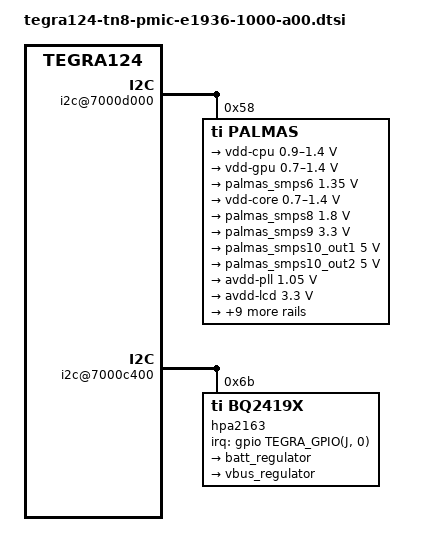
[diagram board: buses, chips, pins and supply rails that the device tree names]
#include <dt-bindings/gpio/tegra-gpio.h>

/ {
	i2c@7000d000 {
		palmas: tps65913 {
			compatible = "ti,palmas";
			reg = <0x58>;
			interrupts = <0 86 0>;

			#interrupt-cells = <2>;
			interrupt-controller;

			palmas_gpio: gpio {
				compatible = "ti,palmas-gpio";
				gpio-controller;
				#gpio-cells = <2>;
			};

			rtc {
				compatible = "ti,palmas-rtc";
				interrupt-parent = <&palmas>;
				interrupts = <8 0>;
			};

			pinmux {
				compatible = "ti,tps65913-pinctrl";
				pinctrl-names = "default";
				pinctrl-0 = <&palmas_default>;

				palmas_default: pinmux {
					powergood {
						pins = "powergood";
						function = "powergood";
					};

					vac {
						pins = "vac";
						function = "vac";
					};

					pin_gpio0 {
						pins = "gpio0";
						function = "id";
						bias-pull-up;
					};

					pin_gpio1 {
						pins = "gpio1";
						function = "gpio";
						bias-pull-down;
					};

					pin_gpio6 {
						pins = "gpio2", "gpio3", "gpio4", "gpio6", "gpio7";
						function = "gpio";
					};

					pin_gpio5 {
						pins = "gpio5";
						function = "clk32kgaudio";
					};
				};
			};

			extcon {
				compatible = "ti,palmas-usb";
				extcon-name = "palmas-extcon";
				ti,wakeup;
				ti,enable-id-detection;
				ti,enable-vbus-detection;
			};

			power_pm {
				compatible = "ti,palmas-pm";
				system-pmic-power-off;
				system-pmic-power-reset;
			};

			gpadc {
				compatible = "ti,palmas-gpadc";
				interrupt-parent = <&palmas>;
				interrupts = <18 0
					      16 0
					      17 0>;
				ti,channel3-current-microamp = <400>;
				ti,enable-channel3-dual-current;
				ti,enable-extended-delay;
				iio_map {
					ch1 {
						ti,adc-channel-number = <1>;
						ti,adc-consumer-device = "generic-adc-thermal.1";
						ti,adc-consumer-channel ="thermistor";
					};

					ch3 {
						ti,adc-channel-number = <3>;
						ti,adc-consumer-device = "generic-adc-thermal.2";
						ti,adc-consumer-channel ="tdiode";
					};

					ch5 {
						ti,adc-channel-number = <5>;
						ti,adc-consumer-device = "generic-adc-thermal.0";
						ti,adc-consumer-channel ="battery-temp-channel";
					};

				};
			};

                        clock {
                                compatible = "ti,palmas-clk";

                                clk32k_kg {
                                        ti,clock-boot-enable;
                                };

                                clk32k_kg_audio {
                                        ti,clock-boot-enable;
                                };
                        };

			pmic {
				compatible = "ti,tps65913-pmic", "ti,palmas-pmic";
				ldo1-in-supply = <&palmas_smps6>;
				ldo5-in-supply = <&palmas_smps8>;
				ldo9-in-supply = <&palmas_smps9>;
				ldoln-in-supply = <&palmas_smps10_out2>;
				ldousb-in-supply = <&palmas_smps10_out2>;

				regulators {
					smps123 {
						regulator-name = "vdd-cpu";
						regulator-min-microvolt = <900000>;
						regulator-max-microvolt = <1400000>;
						regulator-always-on;
						regulator-boot-on;
						ti,roof-floor = <1>;
						ti,config-flags = <8>;

						consumers {
							c1 {
								regulator-consumer-supply = "vdd_cpu";
							};
						};
					};

					smps45 {
						regulator-name = "vdd-gpu";
						regulator-min-microvolt = <700000>;
						regulator-max-microvolt = <1400000>;
						regulator-init-microvolt = <1000000>;
						regulator-boot-on;

						consumers {
							c1 {
								regulator-consumer-supply = "vdd_gpu";
							};
						};
					};

					palmas_smps6: smps6 {
						regulator-name = "vddio-ddr";
						regulator-min-microvolt = <1350000>;
						regulator-max-microvolt = <1350000>;
						regulator-always-on;
						regulator-boot-on;

						consumers {
							c1 {
								regulator-consumer-supply = "vddio_ddr";
							};
							c2 {
								regulator-consumer-supply = "vddio_ddr_mclk";
							};
							c3 {
								regulator-consumer-supply = "vddio_ddr3";
							};
							c4 {
								regulator-consumer-supply = "vcore1_ddr3";
							};
						};
					};

					smps7 {
						regulator-name = "vdd-core";
						regulator-min-microvolt = <700000>;
						regulator-max-microvolt = <1400000>;
						regulator-always-on;
						regulator-boot-on;
						ti,roof-floor = <3>;
						consumers {
							c1 {
								regulator-consumer-supply = "vdd_core";
							};
						};
					};

					palmas_smps8: smps8 {
						regulator-name = "vdd-1v8";
						regulator-min-microvolt = <1800000>;
						regulator-max-microvolt = <1800000>;
						regulator-always-on;
						regulator-boot-on;

						consumers {
							c1 {
								regulator-consumer-supply = "dbvdd";
								regulator-consumer-device = "tegra-snd-rt5639.0";
							};
							c2 {
								regulator-consumer-supply = "avdd";
								regulator-consumer-device = "tegra-snd-rt5639.0";
							};
							c3 {
								regulator-consumer-supply = "avdd_osc";
							};
							c4 {
								regulator-consumer-supply = "vddio_sys";
							};
							c5 {
								regulator-consumer-supply = "vddio_sys_2";
							};
							c6 {
								regulator-consumer-supply = "vddio_gmi";
							};
							c7 {
								regulator-consumer-supply = "vddio_sdmmc";
								regulator-consumer-device = "sdhci-tegra.0";
							};
							c8 {
								regulator-consumer-supply = "vddio_sdmmc";
								regulator-consumer-device = "sdhci-tegra.3";
							};
							c9 {
								regulator-consumer-supply = "avdd_pll_utmip";
								regulator-consumer-device = "tegra-udc.0";
							};
							c10 {
								regulator-consumer-supply = "avdd_pll_utmip";
								regulator-consumer-device = "tegra-ehci.0";
							};
							c11 {
								regulator-consumer-supply = "avdd_pll_utmip";
								regulator-consumer-device = "tegra-ehci.1";
							};
							c12 {
								regulator-consumer-supply = "avdd_pll_utmip";
								regulator-consumer-device = "tegra-ehci.2";
							};
							c13 {
								regulator-consumer-supply = "avdd_pll_utmip";
								regulator-consumer-device = "tegra-xhci";
							};
							c14 {
								regulator-consumer-supply = "vddio_audio";
							};
							c15 {
								regulator-consumer-supply = "vddio_uart";
							};
							c16 {
								regulator-consumer-supply = "vddio_bb";
							};
							c17 {
								regulator-consumer-supply = "vdd_1v8_eeprom";
							};
							c18 {
								regulator-consumer-supply = "vlogic";
								regulator-consumer-device = "0-0069";
							};
							c19 {
								regulator-consumer-supply = "vdd";
								regulator-consumer-device = "0-0069";
							};
							c20 {
								regulator-consumer-supply = "dvdd";
								regulator-consumer-device = "spi0.0";
							};
							c21 {
								regulator-consumer-supply = "dmicvdd";
								regulator-consumer-device = "tegra-snd-rt5639.0";
							};
							c22 {
								regulator-consumer-supply = "dmicvdd";
								regulator-consumer-device = "tegra-snd-rt5645.0";
							};
							c23 {
								regulator-consumer-supply = "vid";
								regulator-consumer-device = "0-000d";
							};
							c24 {
								regulator-consumer-supply = "pwrdet_nand";
							};
							c25 {
								regulator-consumer-supply = "pwrdet_sdmmc1";
							};
							c26 {
								regulator-consumer-supply = "pwrdet_sdmmc4";
							};
							c27 {
								regulator-consumer-supply = "pwrdet_audio";
							};
							c28 {
								regulator-consumer-supply = "pwrdet_uart";
							};
							c29 {
								regulator-consumer-supply = "pwrdet_bb";
							};
						};
					};

					palmas_smps9: smps9 {
						regulator-name = "vdd-snsr";
						regulator-min-microvolt = <3300000>;
						regulator-max-microvolt = <3300000>;
						regulator-always-on;
						regulator-boot-on;

						consumers {
							c1 {
								regulator-consumer-supply = "vddio_sd_slot";
								regulator-consumer-device = "sdhci-tegra.3";
							};
							c2 {
								regulator-consumer-supply = "vdd";
								regulator-consumer-device = "0-000d";
							};
						};
					};

					palmas_smps10_out1: smps10_out1 {
						regulator-name = "vdd-out1-5v0";
						regulator-min-microvolt = <5000000>;
						regulator-max-microvolt = <5000000>;

					};

					palmas_smps10_out2: smps10_out2 {
						regulator-name = "vdd-out2-5v0";
						regulator-min-microvolt = <5000000>;
						regulator-max-microvolt = <5000000>;

						consumers {
							c1 {
								regulator-consumer-supply = "spkvdd";
								regulator-consumer-device = "tegra-snd-rt5639.0";
							};
							c2 {
								regulator-consumer-supply = "spkvdd";
								regulator-consumer-device = "tegra-snd-rt5645.0";
							};
						};
					};

					ldo1 {
						regulator-name = "avdd-pll";
						regulator-min-microvolt = <1050000>;
						regulator-max-microvolt = <1050000>;
						regulator-always-on;
						regulator-boot-on;
						ti,roof-floor = <3>;

						consumers {
							c1 {
								regulator-consumer-supply = "avdd_pll_m";
							};
							c2 {
								regulator-consumer-supply = "avdd_pll_ap_c2_c3";
							};
							c3 {
								regulator-consumer-supply = "avdd_pll_cud2dpd";
							};
							c4 {
								regulator-consumer-supply = "avdd_pll_c4";
							};
							c5 {
								regulator-consumer-supply = "vddio_ddr_hs";
							};
							c6 {
								regulator-consumer-supply = "avdd_pll_erefe";
							};
							c7 {
								regulator-consumer-supply = "avdd_pll_cg";
							};
							c8 {
								regulator-consumer-supply = "avdd_pll_x";
							};
						};
					};

					ldo2 {
						regulator-name = "avdd-lcd";
						regulator-min-microvolt = <3300000>;
						regulator-max-microvolt = <3300000>;

						consumers {
							c1 {
								regulator-consumer-supply = "avdd_lcd";
								regulator-consumer-device = "tegradc.0";
							};

						};
					};

					ldo3 {
						regulator-name = "vdd-touch";
						regulator-min-microvolt = <3000000>;
						regulator-max-microvolt = <3000000>;

						consumers {
							c1 {
								regulator-consumer-supply = "avdd";
								regulator-consumer-device = "spi0.0";
							};

						};
					};

					ldo4 {
						regulator-name = "avdd-cam1";
						regulator-min-microvolt = <2700000>;
						regulator-max-microvolt = <2700000>;

						consumers {
							c1 {
								regulator-consumer-supply = "avdd_ov5693";
								regulator-consumer-device = "2-0010";
							};
						};
					};

					ldo5 {
						regulator-name = "avdd-dsi-csi";
						regulator-min-microvolt = <1200000>;
						regulator-max-microvolt = <1200000>;

						consumers {
							c1 {
								regulator-consumer-supply = "vddio_hsic";
								regulator-consumer-device = "tegra-ehci.1";
							};
							c2 {
								regulator-consumer-supply = "vddio_hsic";
								regulator-consumer-device = "tegra-ehci.2";
							};
							c3 {
								regulator-consumer-supply = "vddio_hsic";
								regulator-consumer-device = "tegra-xhci";
							};
							c4 {
								regulator-consumer-supply = "avdd_dsi_csi";
								regulator-consumer-device = "tegradc.0";
							};
							c5 {
								regulator-consumer-supply = "avdd_dsi_csi";
								regulator-consumer-device = "tegradc.1";
							};
							c6 {
								regulator-consumer-supply = "avdd_dsi_csi";
								regulator-consumer-device = "vi.0";
							};
							c7 {
								regulator-consumer-supply = "avdd_dsi_csi";
								regulator-consumer-device = "vi.1";
							};
							c8 {
								regulator-consumer-supply = "vdd_lcd_bl";
								regulator-consumer-device = "tegradc.0";
							};
							c9 {
								regulator-consumer-supply = "pwrdet_mipi";
							};
						};
					};

					ldo6 {
						regulator-name = "vpp-fuse";
						regulator-min-microvolt = <1800000>;
						regulator-max-microvolt = <1800000>;

						consumers {
							c1 {
								regulator-consumer-supply = "vpp_fuse";
							};
						};
					};

					ldo7 {
						regulator-name = "avdd-cam-af";
						regulator-min-microvolt = <2700000>;
						regulator-max-microvolt = <2700000>;

						consumers {
							c1 {
								regulator-consumer-supply = "avdd_af1_cam";
							};
							c2 {
								regulator-consumer-supply = "avdd_cam2_cam";
							};
							c3 {
								regulator-consumer-supply = "vdd_af1";
								regulator-consumer-device = "2-0010";
							};
							c4 {
								regulator-consumer-supply = "vdd";
								regulator-consumer-device = "2-000c";
							};
							c5 {
								regulator-consumer-supply = "vana";
								regulator-consumer-device = "2-0048";
							};
						};
					};

					ldo8 {
						regulator-name = "vdd-rtc";
						regulator-min-microvolt = <900000>;
						regulator-max-microvolt = <900000>;
						regulator-always-on;
						regulator-boot-on;

						consumers {
							c1 {
								regulator-consumer-supply = "vdd_rtc";
							};
						};
					};

					ldo9 {
						regulator-name = "vddio-sdmmc-2";
						regulator-min-microvolt = <1800000>;
						regulator-max-microvolt = <3300000>;

						consumers {
							c1 {
								regulator-consumer-supply = "vddio_sdmmc";
								regulator-consumer-device = "sdhci-tegra.2";
							};
							c2 {
								regulator-consumer-supply = "pwrdet_sdmmc3";
							};
						};
					};

					ldoln {
						regulator-name = "vddio-hv";
						regulator-min-microvolt = <3300000>;
						regulator-max-microvolt = <3300000>;
						regulator-always-on;
						regulator-boot-on;

						consumers {
							c1 {
								regulator-consumer-supply = "vddio_hv";
								regulator-consumer-device = "tegradc.1";
							};
							c2 {
								regulator-consumer-supply = "avdd_hdmi";
								regulator-consumer-device = "tegradc.1";

							};
							c3 {
								regulator-consumer-supply = "pwrdet_hv";
							};
							c4 {
								regulator-consumer-supply = "vddio_pex_ctl";
								regulator-consumer-device = "tegra-pcie";
							};
						};
					};

					ldousb {
						regulator-name = "avdd-usb";
						regulator-min-microvolt = <3300000>;
						regulator-max-microvolt = <3300000>;
						regulator-always-on;
						regulator-boot-on;

						consumers {
							c1 {
								regulator-consumer-supply = "pwrdet_pex_ctl";
							};
							c2 {
								regulator-consumer-supply = "avdd_usb";
								regulator-consumer-device = "tegra-udc.0";
							};
							c3 {
								regulator-consumer-supply = "avdd_usb";
								regulator-consumer-device = "tegra-ehci.0";
							};
							c4 {
								regulator-consumer-supply = "avdd_usb";
								regulator-consumer-device = "tegra-ehci.1";
							};
							c5 {
								regulator-consumer-supply = "avdd_usb";
								regulator-consumer-device = "tegra-ehci.2";
							};
							c6 {
								regulator-consumer-supply = "hvdd_usb";
								regulator-consumer-device = "tegra-xhci";
							};
							c7 {
								regulator-consumer-supply = "hvdd_pex";
								regulator-consumer-device = "tegra-pcie";
							};
							c8 {
								regulator-consumer-supply = "hvdd_pex_pll_e";
								regulator-consumer-device = "tegra-pcie";
							};

						};
					};
				};
			};
		};
	};

	i2c@7000c400 {

		max17048@36 {
			compatible = "maxim,max17048";
			reg = <0x36>;
			status = "disabled";
			interrupt-parent = <&gpio>;
			interrupts = <TEGRA_GPIO(Q, 5) 0x0>;
			tz-name = "battery-temp";
			alert-threshold = <0>;          /* 1% SOC */
			one-percent-alerts = <1>;
			valert-max = <5100>;            /* not use */
			valert-min = <0>;            /* not use */
			vreset-threshold = <2400>;
			vreset-disable = <1>;           /* not use */
			hib-threshold = <48>;           /* 9.984%/hr */
			hib-active-threshold = <128>;   /* 160mV */
			bits = <18>;
			rcomp = <57>;
			rcomp-seg = <0x0200>;
			soccheck-a = <119>;
			soccheck-b = <121>;
			ocvtest = <55952>;
			data-tbl = <0x98 0x80 0xB3 0x50 0xB7 0x90 0xB9 0x00
				0xBA 0x70 0xBC 0x10 0xBC 0x50 0xBC 0xA0
				0xBD 0x20 0xBE 0x30 0xBF 0x40 0xC2 0xF0
				0xC4 0x20 0xC7 0xE0 0xCB 0xF0 0xD0 0x90
				0x00 0x40 0x06 0x70 0x0E 0x50 0x12 0x00
				0x18 0xD0 0x33 0x10 0x31 0x40 0x35 0xD0
				0x18 0xD0 0x19 0x00 0x0B 0xF0 0x0C 0x10
				0x0D 0x10 0x07 0x90 0x08 0x00 0x08 0x00>;
		};

		lc709203f@0b {
			compatible = "onsemi,lc709203f";
			reg = <0x0b>;
			onsemi,initial-rsoc = <0xAA55>;
			onsemi,thermistor-beta = <0x0d6b>;
			status = "disabled";
		};

		hpa2163@6b {
			compatible = "ti,bq2419x";
			reg = <0x6b>;

			interrupt-parent = <&gpio>;
			interrupts = <TEGRA_GPIO(J, 0) 0x0>;

			charger {
				status = "disabled";
				regulator-name = "batt_regulator";
				regulator-max-microamp = <3000000>;
				ti,watchdog-timeout = <40>;
				ti,rtc-alarm-time = <3600>;
				ti,auto-recharge-time = <1800>;
				ti,disbale-suspend-during-charging;
				ti,charge-voltage-limit-millivolt = <4200>;
				ti,temp-range = <10 15 60>;
				ti,charge-current-limit = <1024 2048 5200>;
				ti,thermal-zone = "battery";
				ti,temp-polling-time-sec = <5>;
				ti,ir-comp-voltage-millivolt = <1>;
				consumers {
					c1 {
						regulator-consumer-supply = "usb_bat_chg";
						regulator-consumer-device = "tegra-udc.0";
					};
				};
			};

			vbus {
				regulator-name = "vbus_regulator";
				ti,otg-iusb-gpio = <&gpio TEGRA_GPIO(I, 4) 0>;
				consumers {
					c1 {
						regulator-consumer-supply = "usb_vbus";
						regulator-consumer-device = "tegra-ehci.0";
					};

					c2 {
						regulator-consumer-supply = "usb_vbus";
						regulator-consumer-device = "tegra-otg";
					};
				};
			};
		};
	};
};
